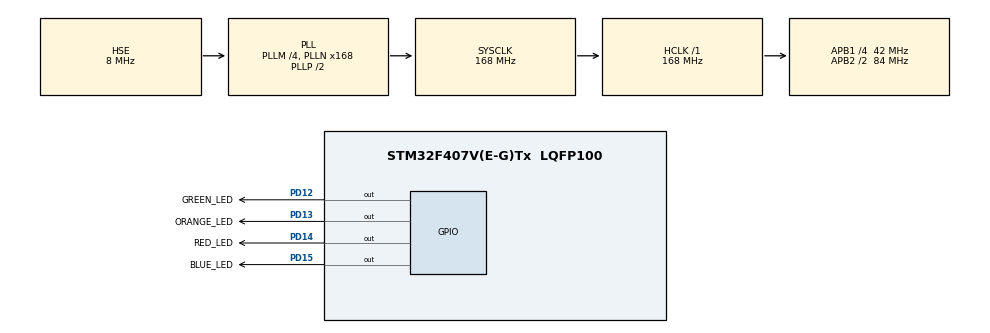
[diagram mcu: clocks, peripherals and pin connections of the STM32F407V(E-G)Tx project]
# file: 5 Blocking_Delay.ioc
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Mcu.Family=STM32F4
Mcu.Name=STM32F407V(E-G)Tx
Mcu.Package=LQFP100
NVIC.PriorityGroup=NVIC_PRIORITYGROUP_4
PA13.Mode=Serial_Wire
PA13.Signal=SYS_JTMS-SWDIO
PA14.Mode=Serial_Wire
PA14.Signal=SYS_JTCK-SWCLK
PD12.GPIO_Label=GREEN_LED
PD12.Signal=GPIO_Output
PD13.GPIO_Label=ORANGE_LED
PD13.Signal=GPIO_Output
PD14.GPIO_Label=RED_LED
PD14.Signal=GPIO_Output
PD15.GPIO_Label=BLUE_LED
PD15.Signal=GPIO_Output
PH0-OSC_IN.Mode=HSE-External-Oscillator
PH0-OSC_IN.Signal=RCC_OSC_IN
PH1-OSC_OUT.Mode=HSE-External-Oscillator
PH1-OSC_OUT.Signal=RCC_OSC_OUT
ProjectManager.HeapSize=0x200
ProjectManager.StackSize=0x400
ProjectManager.TargetToolchain=MDK-ARM V5.32
RCC.48MHZClocksFreq_Value=84000000
RCC.AHBFreq_Value=168000000
RCC.APB1CLKDivider=RCC_HCLK_DIV4
RCC.APB1Freq_Value=42000000
RCC.APB1TimFreq_Value=84000000
RCC.APB2CLKDivider=RCC_HCLK_DIV2
RCC.APB2Freq_Value=84000000
RCC.APB2TimFreq_Value=168000000
RCC.CortexFreq_Value=168000000
RCC.HCLKFreq_Value=168000000
RCC.HSE_VALUE=8000000
RCC.HSI_VALUE=16000000
RCC.LSE_VALUE=32768
RCC.PLLM=4
RCC.PLLN=168
RCC.PLLSourceVirtual=RCC_PLLSOURCE_HSE
RCC.SYSCLKFreq_VALUE=168000000
RCC.SYSCLKSource=RCC_SYSCLKSOURCE_PLLCLK
RCC.VCOOutputFreq_Value=336000000
board=custom

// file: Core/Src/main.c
/* USER CODE BEGIN Header */
/**
  ******************************************************************************
  * @file           : main.c
  * @brief          : Main program body
  ******************************************************************************
  * @attention
  *
  * Copyright (c) 2024 STMicroelectronics.
  * All rights reserved.
  *
  * This software is licensed under terms that can be found in the LICENSE file
  * in the root directory of this software component.
  * If no LICENSE file comes with this software, it is provided AS-IS.
  *
  ******************************************************************************
  */
/* USER CODE END Header */
#include "main.h"
#include "gpio.h"

/* USER CODE BEGIN Includes */
#include "FreeRTOS.h"

/* USER CODE END Includes */

/* USER CODE BEGIN PV */
extern List_t pxReadyTasksLists;

TaskHandle_t Task1_Handle;
#define TASK1_STACK_SIZE                    128
StackType_t Task1Stack[TASK1_STACK_SIZE];
TCB_t Task1TCB;

TaskHandle_t Task2_Handle;
#define TASK2_STACK_SIZE                    128
StackType_t Task2Stack[TASK2_STACK_SIZE];
TCB_t Task2TCB;

// 任务 1 入口函数
void Task1_Entry(void *parg)
{
	for(;;)
	{
		HAL_GPIO_TogglePin(GREEN_LED_GPIO_Port, GREEN_LED_Pin);
		vTaskDelay(100);
	}
}
// 任务 2 入口函数
void Task2_Entry(void *parg)
{
	for(;;)
	{
		HAL_GPIO_TogglePin(ORANGE_LED_GPIO_Port, ORANGE_LED_Pin);
		vTaskDelay(500);
	}
}
/* USER CODE END PV */

void SystemClock_Config(void);

int main(void)
{

  /* MCU Configuration--------------------------------------------------------*/

  /* Reset of all peripherals, Initializes the Flash interface and the Systick. */
  HAL_Init();

  /* Configure the system clock */
  SystemClock_Config();

  /* Initialize all configured peripherals */
  MX_GPIO_Init();
  /* USER CODE BEGIN 2 */

	// 使用链表前手动初始化
	prvInitialiseTaskLists();
	// 创建任务 1 和 2
	Task1_Handle = xTaskCreateStatic((TaskFunction_t)Task1_Entry,
									 (char *)"Task1",
									 (uint32_t)TASK1_STACK_SIZE,
									 (void *)NULL,
									 (StackType_t *)Task1Stack,
									 (TCB_t *)&Task1TCB);

	Task2_Handle = xTaskCreateStatic((TaskFunction_t)Task2_Entry,
									 (char *)"Task2",
									 (uint32_t)TASK2_STACK_SIZE,
									 (void *) NULL,
									 (StackType_t *)Task2Stack,
									 (TCB_t *)&Task2TCB );
	// 将两个任务插入到就绪链表中
	vListInsertEnd(&(pxReadyTasksLists),&(((TCB_t *)(&Task1TCB))->xStateListItem));
	vListInsertEnd(&(pxReadyTasksLists),&(((TCB_t *)(&Task2TCB))->xStateListItem));
	// 启动任务调度器，永不返回
	vTaskStartScheduler();
  /* USER CODE END 2 */

  /* Infinite loop */
  while (1)
  {

    /* USER CODE BEGIN 3 */
		HAL_Delay(100);
		HAL_GPIO_TogglePin(RED_LED_GPIO_Port, RED_LED_Pin);
  }
  /* USER CODE END 3 */
}

void SystemClock_Config(void)
{
  RCC_OscInitTypeDef RCC_OscInitStruct = {0};
  RCC_ClkInitTypeDef RCC_ClkInitStruct = {0};

  /** Configure the main internal regulator output voltage
  */
  __HAL_RCC_PWR_CLK_ENABLE();
  __HAL_PWR_VOLTAGESCALING_CONFIG(PWR_REGULATOR_VOLTAGE_SCALE1);

  /** Initializes the RCC Oscillators according to the specified parameters
  * in the RCC_OscInitTypeDef structure.
  */
  RCC_OscInitStruct.OscillatorType = RCC_OSCILLATORTYPE_HSE;
  RCC_OscInitStruct.HSEState = RCC_HSE_ON;
  RCC_OscInitStruct.PLL.PLLState = RCC_PLL_ON;
  RCC_OscInitStruct.PLL.PLLSource = RCC_PLLSOURCE_HSE;
  RCC_OscInitStruct.PLL.PLLM = 4;
  RCC_OscInitStruct.PLL.PLLN = 168;
  RCC_OscInitStruct.PLL.PLLP = RCC_PLLP_DIV2;
  RCC_OscInitStruct.PLL.PLLQ = 4;
  if (HAL_RCC_OscConfig(&RCC_OscInitStruct) != HAL_OK)
  {
    Error_Handler();
  }

  /** Initializes the CPU, AHB and APB buses clocks
  */
  RCC_ClkInitStruct.ClockType = RCC_CLOCKTYPE_HCLK|RCC_CLOCKTYPE_SYSCLK
                              |RCC_CLOCKTYPE_PCLK1|RCC_CLOCKTYPE_PCLK2;
  RCC_ClkInitStruct.SYSCLKSource = RCC_SYSCLKSOURCE_PLLCLK;
  RCC_ClkInitStruct.AHBCLKDivider = RCC_SYSCLK_DIV1;
  RCC_ClkInitStruct.APB1CLKDivider = RCC_HCLK_DIV4;
  RCC_ClkInitStruct.APB2CLKDivider = RCC_HCLK_DIV2;

  if (HAL_RCC_ClockConfig(&RCC_ClkInitStruct, FLASH_LATENCY_5) != HAL_OK)
  {
    Error_Handler();
  }
}

void Error_Handler(void)
{
  __disable_irq();
  while (1)
  {
  }
}
